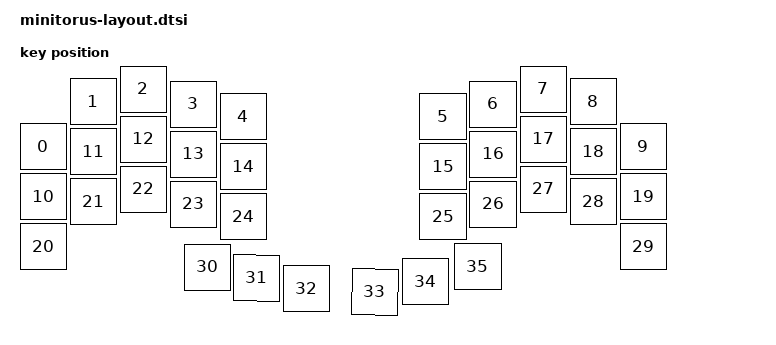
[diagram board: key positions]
#include <physical_layouts.dtsi>

/ {
    physical_layout0: physical_layout0 {
        compatible = "zmk,physical-layout";
        display-name = "Default";
        kscan = <&kscan0>;
        transform = <&default_transform>;
        // ┌──────┬──────┬──────┬──────┬──────┐         ┌──────┬──────┬──────┬──────┬──────┐
        // │ SW0  │ SW1  │ SW2  │ SW3  │ SW4  │         │ SW5  │ SW6  │ SW7  │ SW8  │ SW9  │
        // ├──────┼──────┼──────┼──────┼──────┤         ├──────┼──────┼──────┼──────┼──────┤
        // │ SW10 │ SW11 │ SW12 │ SW13 │ SW14 │         │ SW15 │ SW16 │ SW17 │ SW18 │ SW19 │
        // ├──────┼──────┼──────┼──────┼──────┤         ├──────┼──────┼──────┼──────┼──────┤
        // │ SW20 │ SW21 │ SW22 │ SW23 │ SW24 │         │ SW25 │ SW26 │ SW27 │ SW28 │ SW29 │
        // └──────┴──────┼──────┼──────┼──────┤         ├──────┼──────┼──────┼──────┴──────┘
        //               │ SW30 │ SW31 │ SW32 │         │ SW33 │ SW34 │ SW35 │
        //               └──────┴──────┴──────┘         └──────┴──────┴──────┘
        keys 
            //                      w    h      x     y      rot  rx   ry
            // ------------------------------------------------------------
            // LINHA 1 (Topo)
            = <&key_physical_attrs 100  100    100   160      0    0    0> // SW0  (Esq)
            , <&key_physical_attrs 100  100    200    70      0    0    0> // SW1  (Esq)
            , <&key_physical_attrs 100  100    300    45      0    0    0> // SW2  (Esq)
            , <&key_physical_attrs 100  100    400    75      0    0    0> // SW3  (Esq)
            , <&key_physical_attrs 100  100    500   100      0    0    0> // SW4  (Esq)

            , <&key_physical_attrs 100  100    900   100      0    0    0> // SW5  (Dir)
            , <&key_physical_attrs 100  100   1000    75      0    0    0> // SW6  (Dir)
            , <&key_physical_attrs 100  100   1100    45      0    0    0> // SW7  (Dir)
            , <&key_physical_attrs 100  100   1200    70      0    0    0> // SW8  (Dir)
            , <&key_physical_attrs 100  100   1300   160      0    0    0> // SW9  (Dir)

            // LINHA 2 (Meio / Home Row)
            , <&key_physical_attrs 100  100    100   260      0    0    0> // SW10 (Esq)
            , <&key_physical_attrs 100  100    200   170      0    0    0> // SW11 (Esq)
            , <&key_physical_attrs 100  100    300   145      0    0    0> // SW12 (Esq)
            , <&key_physical_attrs 100  100    400   175      0    0    0> // SW13 (Esq)
            , <&key_physical_attrs 100  100    500   200      0    0    0> // SW14 (Esq)

            , <&key_physical_attrs 100  100    900   200      0    0    0> // SW15 (Dir)
            , <&key_physical_attrs 100  100   1000   175      0    0    0> // SW16 (Dir)
            , <&key_physical_attrs 100  100   1100   145      0    0    0> // SW17 (Dir)
            , <&key_physical_attrs 100  100   1200   170      0    0    0> // SW18 (Dir)
            , <&key_physical_attrs 100  100   1300   260      0    0    0> // SW19 (Dir)

            // LINHA 3 (Baixo)
            , <&key_physical_attrs 100  100    100   360      0    0    0> // SW20 (Esq)
            , <&key_physical_attrs 100  100    200   270      0    0    0> // SW21 (Esq)
            , <&key_physical_attrs 100  100    300   245      0    0    0> // SW22 (Esq)
            , <&key_physical_attrs 100  100    400   275      0    0    0> // SW23 (Esq)
            , <&key_physical_attrs 100  100    500   300      0    0    0> // SW24 (Esq)

            , <&key_physical_attrs 100  100    900   300      0    0    0> // SW25 (Dir)
            , <&key_physical_attrs 100  100   1000   275      0    0    0> // SW26 (Dir)
            , <&key_physical_attrs 100  100   1100   245      0    0    0> // SW27 (Dir)
            , <&key_physical_attrs 100  100   1200   270      0    0    0> // SW28 (Dir)
            , <&key_physical_attrs 100  100   1300   360      0    0    0> // SW29 (Dir)

            // POLEGARES (Angulados)
            , <&key_physical_attrs 100  100    430   400     15    0    0> // SW30 (Esq - Externo)
            , <&key_physical_attrs 100  100    530   420     30    0    0> // SW31 (Esq - Interno)
            , <&key_physical_attrs 100  100    630   440     30    0    0> // SW32 (Esq - Interno/Espaço)

            , <&key_physical_attrs 100  100    770   440     75    0    0> // SW33 (Dir - Interno/Espaço)
            , <&key_physical_attrs 100  100    870   420     60    0    0> // SW34 (Dir - Interno)
            , <&key_physical_attrs 100  100    970   400      0    0    0> // SW35 (Dir - Externo)
            ;
    };
};
